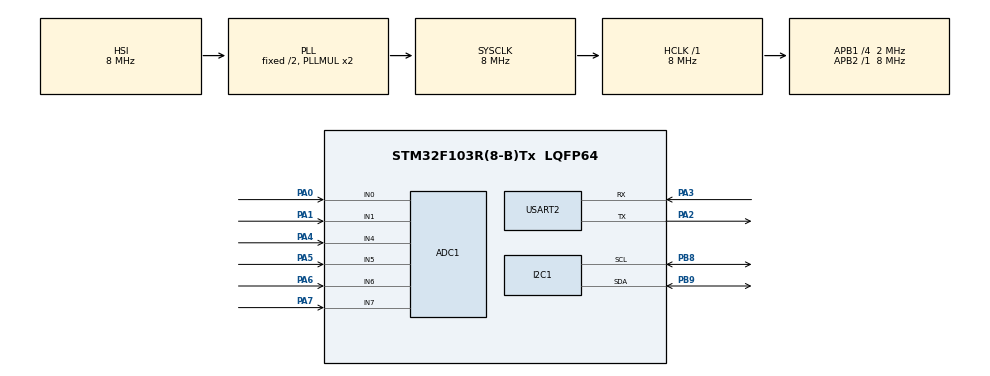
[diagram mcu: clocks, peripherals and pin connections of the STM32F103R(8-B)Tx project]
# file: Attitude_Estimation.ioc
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ADC1.Channel-0\#ChannelRegularConversion=ADC_CHANNEL_0
ADC1.Channel-1\#ChannelRegularConversion=ADC_CHANNEL_1
ADC1.Channel-2\#ChannelRegularConversion=ADC_CHANNEL_4
ADC1.Channel-3\#ChannelRegularConversion=ADC_CHANNEL_5
ADC1.Channel-4\#ChannelRegularConversion=ADC_CHANNEL_6
ADC1.Channel-5\#ChannelRegularConversion=ADC_CHANNEL_7
ADC1.ContinuousConvMode=ENABLE
ADC1.NbrOfConversion=6
ADC1.NbrOfConversionFlag=1
ADC1.Rank-0\#ChannelRegularConversion=1
ADC1.Rank-1\#ChannelRegularConversion=2
ADC1.Rank-2\#ChannelRegularConversion=3
ADC1.Rank-3\#ChannelRegularConversion=4
ADC1.Rank-4\#ChannelRegularConversion=5
ADC1.Rank-5\#ChannelRegularConversion=6
ADC1.SamplingTime-0\#ChannelRegularConversion=ADC_SAMPLETIME_55CYCLES_5
ADC1.SamplingTime-1\#ChannelRegularConversion=ADC_SAMPLETIME_55CYCLES_5
ADC1.SamplingTime-2\#ChannelRegularConversion=ADC_SAMPLETIME_55CYCLES_5
ADC1.SamplingTime-3\#ChannelRegularConversion=ADC_SAMPLETIME_55CYCLES_5
ADC1.SamplingTime-4\#ChannelRegularConversion=ADC_SAMPLETIME_55CYCLES_5
ADC1.SamplingTime-5\#ChannelRegularConversion=ADC_SAMPLETIME_55CYCLES_5
ADC1.master=1
Dma.ADC1.0.Direction=DMA_PERIPH_TO_MEMORY
Dma.ADC1.0.Instance=DMA1_Channel1
Dma.ADC1.0.MemDataAlignment=DMA_MDATAALIGN_WORD
Dma.ADC1.0.MemInc=DMA_MINC_ENABLE
Dma.ADC1.0.Mode=DMA_CIRCULAR
Dma.ADC1.0.PeriphDataAlignment=DMA_PDATAALIGN_WORD
Dma.ADC1.0.PeriphInc=DMA_PINC_DISABLE
Dma.ADC1.0.Priority=DMA_PRIORITY_LOW
Dma.Request0=ADC1
Mcu.Family=STM32F1
Mcu.Name=STM32F103R(8-B)Tx
Mcu.Package=LQFP64
NVIC.DMA1_Channel1_IRQn=true\:0\:0\:false\:false\:true\:false
NVIC.PriorityGroup=NVIC_PRIORITYGROUP_4
PA0-WKUP.Signal=ADCx_IN0
PA1.Signal=ADCx_IN1
PA2.Mode=Asynchronous
PA2.Signal=USART2_TX
PA3.Mode=Asynchronous
PA3.Signal=USART2_RX
PA4.Signal=ADCx_IN4
PA5.Signal=ADCx_IN5
PA6.Signal=ADCx_IN6
PA7.Signal=ADCx_IN7
PB8.Mode=I2C
PB8.Signal=I2C1_SCL
PB9.Mode=I2C
PB9.Signal=I2C1_SDA
ProjectManager.HeapSize=0x3000
ProjectManager.StackSize=0x400
ProjectManager.TargetToolchain=MDK-ARM V5
RCC.AHBFreq_Value=8000000
RCC.APB1CLKDivider=RCC_HCLK_DIV4
RCC.APB1Freq_Value=2000000
RCC.APB1TimFreq_Value=4000000
RCC.APB2Freq_Value=8000000
RCC.APB2TimFreq_Value=8000000
RCC.HCLKFreq_Value=8000000
RCC.RTCClockSelection=RCC_RTCCLKSOURCE_LSE
RCC.SYSCLKFreq_VALUE=8000000
RCC.SYSCLKSource=RCC_SYSCLKSOURCE_PLLCLK
RCC.USBFreq_Value=8000000
SH.ADCx_IN0.0=ADC1_IN0,IN0
SH.ADCx_IN1.0=ADC1_IN1,IN1
SH.ADCx_IN4.0=ADC1_IN4,IN4
SH.ADCx_IN5.0=ADC1_IN5,IN5
SH.ADCx_IN6.0=ADC1_IN6,IN6
SH.ADCx_IN7.0=ADC1_IN7,IN7
TIM2.Period=65535
TIM2.Prescaler=40-1
USART2.VirtualMode=VM_ASYNC
VP_SYS_VS_ND.Mode=No_Debug
VP_TIM2_VS_ClockSourceINT.Mode=Internal
board=NUCLEO-F103RB

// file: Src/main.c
/* USER CODE BEGIN Header */
/**
  ******************************************************************************
  * @file           : main.c
  * @brief          : Main program body
  ******************************************************************************
  ** This program runs attitude estimation on our test hardware using solar
	* vectors and IMU readings.
	*
	* See the Attitude Estimation SOP.
  *
  ******************************************************************************
  */
/* USER CODE END Header */

#include "main.h"

/* USER CODE BEGIN Includes */
#include <ACS.h>
#include <Sensors.h>
#include <AttitudeEstimation.h>
#include <string.h>

/* USER CODE END Includes */

/* USER CODE BEGIN PD */
// #define PRINT_COMPUTATION_TIME
// #define PRINT_EULER_ANGLES
// #define PRINT_SENSOR_VECTORS
#define PRINT_DCM

#define NUM_SOLAR_PANELS 6
#define MAG_HIST_LENGTH 10
#define SV_HIST_LENGTH 10

#define KP_MAG_BASE 1.0
#define KI_MAG_BASE 0.3
#define KP_SV_BASE 1.0
#define KI_SV_BASE 0.3

#define TIME_DELAY_MS 50 // In ms

#define TIM2_TICKS_TO_SECONDS(x) ((float)(x)/100000.0)

/* USER CODE END PD */

ADC_HandleTypeDef hadc1;
DMA_HandleTypeDef hdma_adc1;

I2C_HandleTypeDef hi2c1;

TIM_HandleTypeDef htim2;

UART_HandleTypeDef huart2;

/* USER CODE BEGIN PV */
uint32_t sv_raw[NUM_SOLAR_PANELS];

/* USER CODE END PV */

void SystemClock_Config(void);
static void MX_GPIO_Init(void);
static void MX_DMA_Init(void);
static void MX_I2C1_Init(void);
static void MX_USART2_UART_Init(void);
static void MX_ADC1_Init(void);
static void MX_TIM2_Init(void);

int main(void)
{

  /* MCU Configuration--------------------------------------------------------*/

  /* Reset of all peripherals, Initializes the Flash interface and the Systick. */
  HAL_Init();

  /* Configure the system clock */
  SystemClock_Config();

  /* Initialize all configured peripherals */
  MX_GPIO_Init();
  MX_DMA_Init();
  MX_I2C1_Init();
  MX_USART2_UART_Init();
  MX_ADC1_Init();
  MX_TIM2_Init();
  /* USER CODE BEGIN 2 */

	char transmit[200];
	sprintf(transmit, "ATTITUDE ESTIMATION PROGRAM START\r\n");
	HAL_UART_Transmit(&huart2, (uint8_t*)transmit, strlen(transmit), 20);

	// ***** INITIALIZE SENSORS *****
	ACSType acs;
	initializeACS(&acs);
	initializeSensors(&acs, &hi2c1, &hadc1);

	matrixCopy(acs.mag_vector, acs.mag_inertial);
	matrixCopy(acs.solar_vector, acs.sv_inertial); // NEEDS FIXING FOR CASE WHEN SOLAR VECTORS IS NOT FOUND ON STARTUP

	float dt; // In seconds

	sprintf(transmit, "Finished init\r\n");
	HAL_UART_Transmit(&huart2, (uint8_t*)transmit, strlen(transmit), 20);

	// ***** START TIMER *****
	HAL_TIM_Base_Start(&htim2);
	uint16_t last_time = TIM2->CNT, new_time, computation_start_time;

  /* USER CODE END 2 */

  /* Infinite loop */
  /* USER CODE BEGIN WHILE */
  while (1)
  {
		readSensors(&acs, &hi2c1);

		// Find time since last iteration
		last_time = new_time;
		new_time = TIM2->CNT;
		acs.dt = TIM2_TICKS_TO_SECONDS((uint16_t)(new_time - last_time));

		computation_start_time = TIM2->CNT;

		// DCM integration
		updateAttitudeEstimate(&acs);

		#ifdef PRINT_SENSOR_VECTORS
		// Print gyro vector
		sprintf(transmit, "Gyro vector:\r\n");
		HAL_UART_Transmit(&huart2, (uint8_t*)transmit, strlen(transmit), 20);
		printMatrix(acs.gyro_vector, transmit);
		HAL_UART_Transmit(&huart2, (uint8_t*)transmit, strlen(transmit), 200);

		// Filtered mag vector
		sprintf(transmit, "Mag vector:\r\n");
		HAL_UART_Transmit(&huart2, (uint8_t*)transmit, strlen(transmit), 20);
		printMatrix(acs.mag_vector, transmit);
		HAL_UART_Transmit(&huart2, (uint8_t*)transmit, strlen(transmit), 200);

		// Print solar vector
		sprintf(transmit, "Solar vector:\r\n");
		HAL_UART_Transmit(&huart2, (uint8_t*)transmit, strlen(transmit), 20);
		printMatrix(acs.solar_vector, transmit);
		HAL_UART_Transmit(&huart2, (uint8_t*)transmit, strlen(transmit), 200);
		#endif

		#ifdef PRINT_COMPUTATION_TIME
		sprintf(transmit, "Comp. time: %1.6f[s]\r\n", TIM2_TICKS_TO_SECONDS((uint16_t)(TIM2->CNT - new_time)));
		HAL_UART_Transmit(&huart2, (uint8_t*)transmit, strlen(transmit), 10);
		#endif

		#ifdef PRINT_DCM
		printMatrix(acs.R, transmit);
		HAL_UART_Transmit(&huart2, (uint8_t*)transmit, strlen(transmit), 200);
		sprintf(transmit, "\r\n");
		HAL_UART_Transmit(&huart2, (uint8_t*)transmit, strlen(transmit), 10);
		#endif

		#ifdef PRINT_EULER_ANGLES
		findEulerAngles(acs.R, y_p_r);
		sprintf(transmit, "Yaw:   %3.2f\r\nPitch: %3.2f\r\nRoll:  %3.2f\r\n\r\n", 180.0*y_p_r[0]/PI, 180.0*y_p_r[1]/PI, 180.0*y_p_r[2]/PI);
		HAL_UART_Transmit(&huart2, (uint8_t*)transmit, strlen(transmit), 40);
		#endif

		HAL_Delay(TIME_DELAY_MS);
    /* USER CODE END WHILE */

  }
}

void SystemClock_Config(void)
{
  RCC_OscInitTypeDef RCC_OscInitStruct = {0};
  RCC_ClkInitTypeDef RCC_ClkInitStruct = {0};
  RCC_PeriphCLKInitTypeDef PeriphClkInit = {0};

  /**Initializes the CPU, AHB and APB busses clocks
  */
  RCC_OscInitStruct.OscillatorType = RCC_OSCILLATORTYPE_HSI;
  RCC_OscInitStruct.HSIState = RCC_HSI_ON;
  RCC_OscInitStruct.HSICalibrationValue = RCC_HSICALIBRATION_DEFAULT;
  RCC_OscInitStruct.PLL.PLLState = RCC_PLL_ON;
  RCC_OscInitStruct.PLL.PLLSource = RCC_PLLSOURCE_HSI_DIV2;
  RCC_OscInitStruct.PLL.PLLMUL = RCC_PLL_MUL2;
  if (HAL_RCC_OscConfig(&RCC_OscInitStruct) != HAL_OK)
  {
    Error_Handler();
  }
  /**Initializes the CPU, AHB and APB busses clocks
  */
  RCC_ClkInitStruct.ClockType = RCC_CLOCKTYPE_HCLK|RCC_CLOCKTYPE_SYSCLK
                              |RCC_CLOCKTYPE_PCLK1|RCC_CLOCKTYPE_PCLK2;
  RCC_ClkInitStruct.SYSCLKSource = RCC_SYSCLKSOURCE_PLLCLK;
  RCC_ClkInitStruct.AHBCLKDivider = RCC_SYSCLK_DIV1;
  RCC_ClkInitStruct.APB1CLKDivider = RCC_HCLK_DIV4;
  RCC_ClkInitStruct.APB2CLKDivider = RCC_HCLK_DIV1;

  if (HAL_RCC_ClockConfig(&RCC_ClkInitStruct, FLASH_LATENCY_0) != HAL_OK)
  {
    Error_Handler();
  }
  PeriphClkInit.PeriphClockSelection = RCC_PERIPHCLK_ADC;
  PeriphClkInit.AdcClockSelection = RCC_ADCPCLK2_DIV2;
  if (HAL_RCCEx_PeriphCLKConfig(&PeriphClkInit) != HAL_OK)
  {
    Error_Handler();
  }
}

static void MX_ADC1_Init(void)
{

  ADC_ChannelConfTypeDef sConfig = {0};

  /**Common config
  */
  hadc1.Instance = ADC1;
  hadc1.Init.ScanConvMode = ADC_SCAN_ENABLE;
  hadc1.Init.ContinuousConvMode = ENABLE;
  hadc1.Init.DiscontinuousConvMode = DISABLE;
  hadc1.Init.ExternalTrigConv = ADC_SOFTWARE_START;
  hadc1.Init.DataAlign = ADC_DATAALIGN_RIGHT;
  hadc1.Init.NbrOfConversion = 6;
  if (HAL_ADC_Init(&hadc1) != HAL_OK)
  {
    Error_Handler();
  }
  /**Configure Regular Channel
  */
  sConfig.Channel = ADC_CHANNEL_0;
  sConfig.Rank = ADC_REGULAR_RANK_1;
  sConfig.SamplingTime = ADC_SAMPLETIME_55CYCLES_5;
  if (HAL_ADC_ConfigChannel(&hadc1, &sConfig) != HAL_OK)
  {
    Error_Handler();
  }
  /**Configure Regular Channel
  */
  sConfig.Channel = ADC_CHANNEL_1;
  sConfig.Rank = ADC_REGULAR_RANK_2;
  if (HAL_ADC_ConfigChannel(&hadc1, &sConfig) != HAL_OK)
  {
    Error_Handler();
  }
  /**Configure Regular Channel
  */
  sConfig.Channel = ADC_CHANNEL_4;
  sConfig.Rank = ADC_REGULAR_RANK_3;
  if (HAL_ADC_ConfigChannel(&hadc1, &sConfig) != HAL_OK)
  {
    Error_Handler();
  }
  /**Configure Regular Channel
  */
  sConfig.Channel = ADC_CHANNEL_5;
  sConfig.Rank = ADC_REGULAR_RANK_4;
  if (HAL_ADC_ConfigChannel(&hadc1, &sConfig) != HAL_OK)
  {
    Error_Handler();
  }
  /**Configure Regular Channel
  */
  sConfig.Channel = ADC_CHANNEL_6;
  sConfig.Rank = ADC_REGULAR_RANK_5;
  if (HAL_ADC_ConfigChannel(&hadc1, &sConfig) != HAL_OK)
  {
    Error_Handler();
  }
  /**Configure Regular Channel
  */
  sConfig.Channel = ADC_CHANNEL_7;
  sConfig.Rank = ADC_REGULAR_RANK_6;
  if (HAL_ADC_ConfigChannel(&hadc1, &sConfig) != HAL_OK)
  {
    Error_Handler();
  }

}

static void MX_I2C1_Init(void)
{

  hi2c1.Instance = I2C1;
  hi2c1.Init.ClockSpeed = 100000;
  hi2c1.Init.DutyCycle = I2C_DUTYCYCLE_2;
  hi2c1.Init.OwnAddress1 = 0;
  hi2c1.Init.AddressingMode = I2C_ADDRESSINGMODE_7BIT;
  hi2c1.Init.DualAddressMode = I2C_DUALADDRESS_DISABLE;
  hi2c1.Init.OwnAddress2 = 0;
  hi2c1.Init.GeneralCallMode = I2C_GENERALCALL_DISABLE;
  hi2c1.Init.NoStretchMode = I2C_NOSTRETCH_DISABLE;
  if (HAL_I2C_Init(&hi2c1) != HAL_OK)
  {
    Error_Handler();
  }

}

static void MX_TIM2_Init(void)
{

  TIM_ClockConfigTypeDef sClockSourceConfig = {0};
  TIM_MasterConfigTypeDef sMasterConfig = {0};

  htim2.Instance = TIM2;
  htim2.Init.Prescaler = 40-1;
  htim2.Init.CounterMode = TIM_COUNTERMODE_UP;
  htim2.Init.Period = 65535;
  htim2.Init.ClockDivision = TIM_CLOCKDIVISION_DIV1;
  htim2.Init.AutoReloadPreload = TIM_AUTORELOAD_PRELOAD_DISABLE;
  if (HAL_TIM_Base_Init(&htim2) != HAL_OK)
  {
    Error_Handler();
  }
  sClockSourceConfig.ClockSource = TIM_CLOCKSOURCE_INTERNAL;
  if (HAL_TIM_ConfigClockSource(&htim2, &sClockSourceConfig) != HAL_OK)
  {
    Error_Handler();
  }
  sMasterConfig.MasterOutputTrigger = TIM_TRGO_RESET;
  sMasterConfig.MasterSlaveMode = TIM_MASTERSLAVEMODE_DISABLE;
  if (HAL_TIMEx_MasterConfigSynchronization(&htim2, &sMasterConfig) != HAL_OK)
  {
    Error_Handler();
  }

}

static void MX_USART2_UART_Init(void)
{

  huart2.Instance = USART2;
  huart2.Init.BaudRate = 115200;
  huart2.Init.WordLength = UART_WORDLENGTH_8B;
  huart2.Init.StopBits = UART_STOPBITS_1;
  huart2.Init.Parity = UART_PARITY_NONE;
  huart2.Init.Mode = UART_MODE_TX_RX;
  huart2.Init.HwFlowCtl = UART_HWCONTROL_NONE;
  huart2.Init.OverSampling = UART_OVERSAMPLING_16;
  if (HAL_UART_Init(&huart2) != HAL_OK)
  {
    Error_Handler();
  }

}

static void MX_DMA_Init(void)
{
  /* DMA controller clock enable */
  __HAL_RCC_DMA1_CLK_ENABLE();

  /* DMA interrupt init */
  /* DMA1_Channel1_IRQn interrupt configuration */
  HAL_NVIC_SetPriority(DMA1_Channel1_IRQn, 0, 0);
  HAL_NVIC_EnableIRQ(DMA1_Channel1_IRQn);

}

static void MX_GPIO_Init(void)
{

  /* GPIO Ports Clock Enable */
  __HAL_RCC_GPIOA_CLK_ENABLE();
  __HAL_RCC_GPIOB_CLK_ENABLE();

}

void Error_Handler(void)
{
}

/************************ (C) COPYRIGHT STMicroelectronics *****END OF FILE****/
